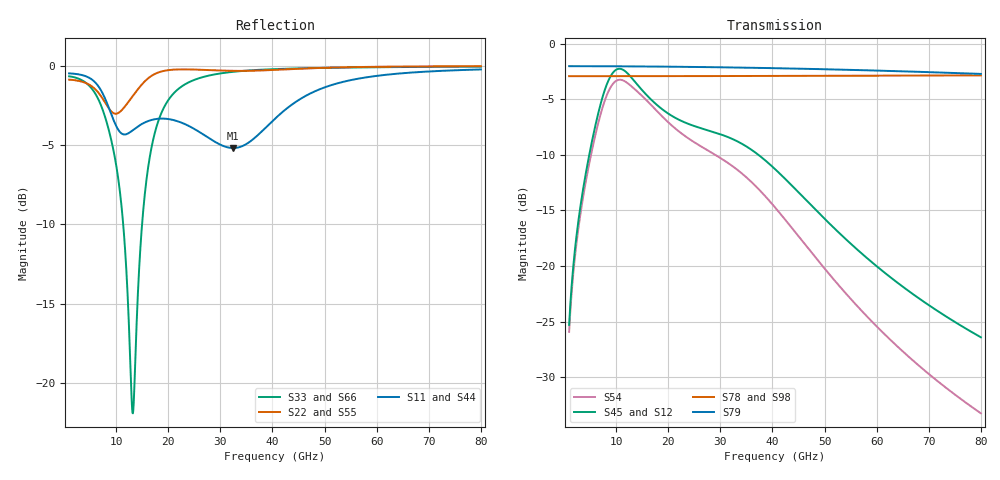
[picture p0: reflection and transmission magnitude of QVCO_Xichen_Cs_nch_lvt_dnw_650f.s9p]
! Touchstone Ver. 1.0
! Number of ports is 9
# Hz	S	RI	R	50.000000
! SCATTERING PARAMETERS  :
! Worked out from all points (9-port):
!   1001 points, 1 GHz to 80 GHz, reference 50 ohm
!   strongest paths, dB at 1 GHz, 20.75 GHz, 40.5 GHz, 60.25 GHz, 80 GHz:
!     S79: -2.0, -2.1, -2.2, -2.4, -2.7
!     S78: -2.9, -2.9, -2.9, -2.9, -2.9
!     S98: -2.9, -3.0, -3.0, -3.1, -3.2
!     S45: -25.3, -6.5, -11.3, -20.1, -26.4
!     S12: -25.3, -6.5, -11.3, -20.1, -26.4
!     S54: -25.9, -7.4, -14.7, -25.5, -33.3
!   lowest |S11| = -5.2 dB at 32.44 GHz (marker M1), VSWR 3.45, Z = 82.9 + j78.3 ohm
!   |S11| at or under -10 dB: nowhere
